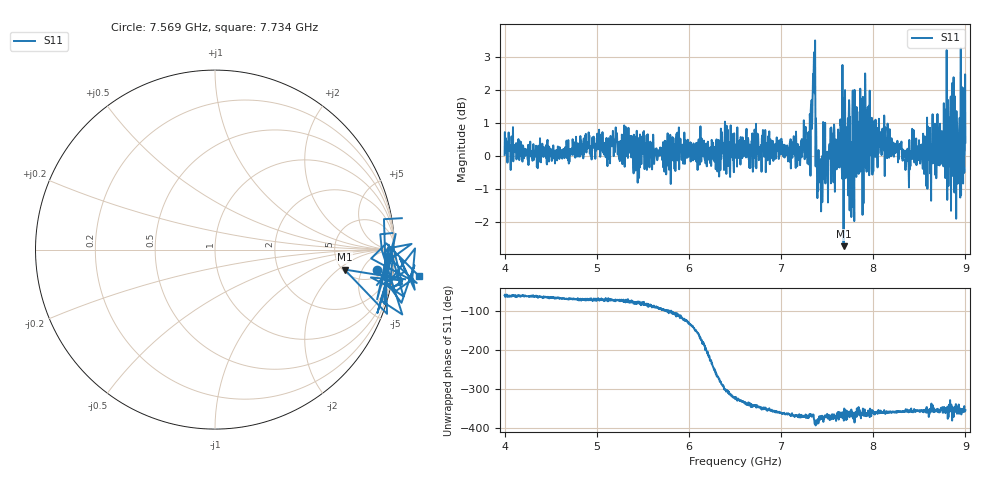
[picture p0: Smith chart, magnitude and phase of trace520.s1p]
! Created with skrf 1.8.0 (http://scikit-rf.org).
# Hz S RI R 50.0
!freq ReS11 ImS11
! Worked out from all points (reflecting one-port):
!   1601 points, 4 GHz to 9 GHz, reference 50 ohm
!   lowest |S11| = -2.7 dB at 7.678 GHz (marker M1), VSWR 6.41, Z = 260 - j124 ohm
!   phase of S11 starts at -61 deg and turns -293 deg over the sweep
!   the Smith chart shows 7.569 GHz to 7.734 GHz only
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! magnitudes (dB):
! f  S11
! 4 GHz  0.0
! 4.625 GHz  -0.1
! 5.25 GHz  -0.2
! 5.462 GHz  0.5
! 5.488 GHz  0.1
! 5.875 GHz  0.7
! 6.5 GHz  0.1
! 7.125 GHz  0.2
! 7.294 GHz  -0.1
! 7.347 GHz  2.5
! 7.366 GHz  1.9
! 7.397 GHz  -1.1
! 7.412 GHz  -0.4
! 7.538 GHz  0.8
! 7.678 GHz  -2.7
! 7.75 GHz  -1.2
! 7.769 GHz  -1.0
! 7.844 GHz  0.7
! 7.881 GHz  1.0
! 7.962 GHz  2.0
! 8.375 GHz  0.1
! 8.441 GHz  0.2
! 8.575 GHz  -0.9
! 8.766 GHz  1.6
! 8.816 GHz  -0.9
! 8.919 GHz  -0.3
! 8.956 GHz  0.3
! 9 GHz  0.4
